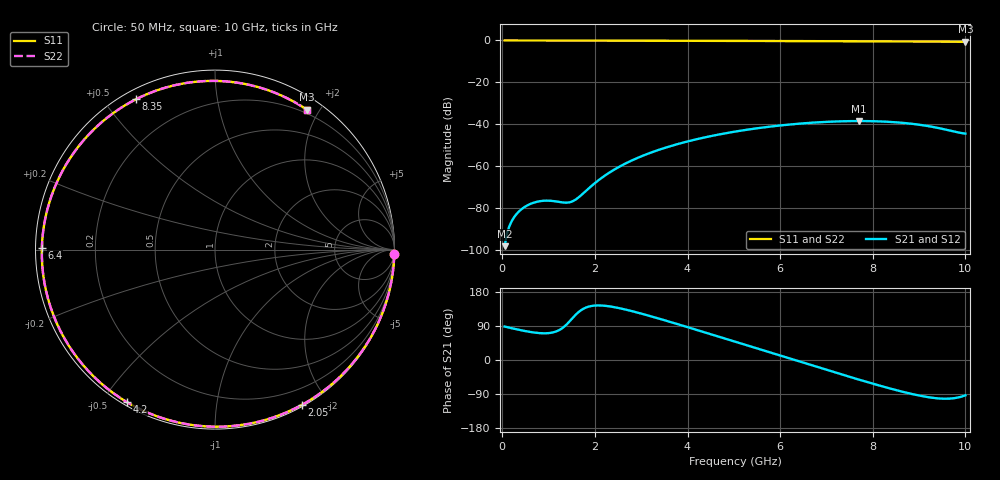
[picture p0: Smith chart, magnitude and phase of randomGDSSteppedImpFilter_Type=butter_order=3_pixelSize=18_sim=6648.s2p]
! freq	dB(S11)	phase(S11)	dB(S12)	phase(S12)
!  dB(S21)	phase(S21)	dB(S22)	phase(S22)
!S-par simulation data
#  GHz  S  DB  R 50
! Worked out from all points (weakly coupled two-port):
!   200 points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, 50 MHz to 10 GHz, reference 50 ohm
!   highest |S21| = -38.52 dB at 7.7 GHz (marker M1); lowest = -98.3 dB at 50 MHz (marker M2)
!   lowest |S11| = -0.6 dB at 10 GHz (marker M3), VSWR 28.57, Z = 7.7 + j92 ohm
!   |S11| at or under -10 dB: nowhere
!   |S22| runs from -0.6 to 0.0 dB; largest |S21 - S12| = 0
!   S11 on the Smith chart (normalised r, x): 50 MHz: 1, -74; 2.05 GHz: 0.02, -1.70; 4.2 GHz: 0.01, -0.58; 6.4 GHz: 0.02, +0.00; 8.35 GHz: 0.04, +0.60; 10 GHz: 0.15, +1.84
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0.05  -0.00 -1.5  -98.32 88.3  -98.32 88.3  -0.00 -1.5
0.45  -0.02 -13.7  -80.06 77.4  -80.06 77.4  -0.02 -13.7
0.65  -0.02 -19.7  -77.75 73.1  -77.75 73.1  -0.02 -19.7
0.9  -0.03 -27.2  -76.61 70.5  -76.61 70.5  -0.03 -27.2
1.45  -0.05 -43.4  -77.37 101.4  -77.37 101.4  -0.05 -43.4
1.6  -0.06 -47.8  -75.80 121.2  -75.80 121.2  -0.06 -47.8
1.75  -0.07 -52.2  -73.04 135.1  -73.04 135.1  -0.07 -52.2
2.05  -0.08 -60.8  -67.29 144.0  -67.29 144.0  -0.08 -60.8
2.65  -0.10 -77.8  -58.92 133.4  -58.92 133.4  -0.10 -77.8
3.4  -0.13 -98.5  -52.13 108.6  -52.13 108.6  -0.13 -98.4
4.2  -0.16 -120.1  -47.19 79.3  -47.19 79.3  -0.16 -120.1
5.05  -0.21 -142.9  -43.48 47.5  -43.48 47.5  -0.21 -142.9
5.75  -0.26 -162.1  -41.27 21.1  -41.27 21.1  -0.26 -162.1
6.4  -0.31 179.5  -39.79 -3.4  -39.79 -3.4  -0.31 179.5
6.7  -0.34 170.7  -39.29 -14.7  -39.29 -14.7  -0.34 170.7
7.2  -0.38 155.5  -38.72 -33.4  -38.72 -33.4  -0.38 155.5
7.7  -0.43 139.6  -38.52 -51.7  -38.52 -51.7  -0.43 139.6
8.35  -0.48 117.6  -38.90 -74.4  -38.90 -74.4  -0.48 117.6
8.8  -0.52 101.6  -39.72 -88.4  -39.72 -88.4  -0.52 101.6
9.2  -0.54 86.9  -40.95 -98.2  -40.95 -98.2  -0.54 86.9
9.6  -0.57 71.9  -42.73 -102.2  -42.73 -102.2  -0.57 71.9
10  -0.61 56.8  -44.54 -93.3  -44.54 -93.3  -0.61 56.8
